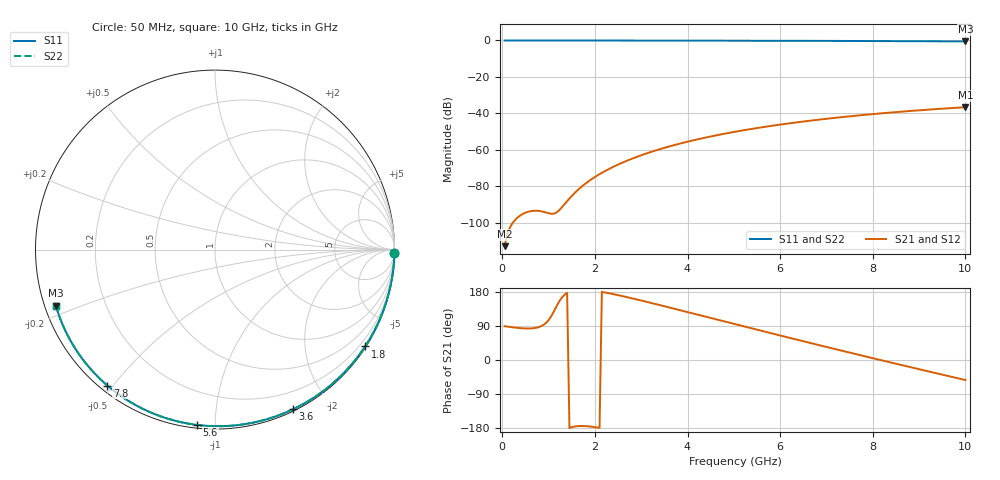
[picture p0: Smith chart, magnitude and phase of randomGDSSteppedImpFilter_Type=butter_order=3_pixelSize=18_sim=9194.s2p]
! freq	dB(S11)	phase(S11)	dB(S12)	phase(S12)
!  dB(S21)	phase(S21)	dB(S22)	phase(S22)
!S-par simulation data
#  GHz  S  DB  R 50
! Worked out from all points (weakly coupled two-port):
!   200 points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, 50 MHz to 10 GHz, reference 50 ohm
!   highest |S21| = -36.59 dB at 10 GHz (marker M1); lowest = -112.7 dB at 50 MHz (marker M2)
!   lowest |S11| = -0.5 dB at 10 GHz (marker M3), VSWR 32.39, Z = 1.59 - j8.56 ohm
!   |S11| at or under -10 dB: nowhere
!   |S22| runs from -0.5 to 0.0 dB; largest |S21 - S12| = 0
!   S11 on the Smith chart (normalised r, x): 50 MHz: open; 1.8 GHz: 0.03, -3.39; 3.6 GHz: 0.02, -1.60; 5.6 GHz: 0.02, -0.90; 7.8 GHz: 0.02, -0.48; 10 GHz: 0.03, -0.17
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0.05  -0.00 -0.9  -112.73 89.1  -112.73 89.1  -0.00 -0.9
0.45  -0.01 -8.3  -94.96 83.5  -94.96 83.5  -0.01 -8.3
0.85  -0.02 -15.7  -93.66 89.9  -93.66 89.9  -0.02 -15.7
1.7  -0.04 -31.1  -80.39 -174.1  -80.39 -174.1  -0.04 -31.1
1.75  -0.04 -32.0  -79.35 -174.2  -79.35 -174.2  -0.04 -32.0
1.8  -0.04 -32.8  -78.36 -174.5  -78.36 -174.5  -0.04 -32.8
1.95  -0.05 -35.5  -75.65 -176.4  -75.65 -176.4  -0.05 -35.5
2.1  -0.05 -38.2  -73.26 -179.1  -73.26 -179.1  -0.05 -38.2
2.3  -0.05 -41.7  -70.47 176.3  -70.47 176.3  -0.05 -41.7
2.5  -0.06 -45.2  -68.01 171.2  -68.01 171.2  -0.06 -45.2
2.9  -0.07 -52.1  -63.83 159.9  -63.83 159.9  -0.07 -52.1
3.4  -0.08 -60.6  -59.59 145.0  -59.59 145.0  -0.08 -60.6
3.6  -0.09 -63.9  -58.12 138.8  -58.12 138.8  -0.09 -63.9
4.3  -0.11 -75.4  -53.70 117.2  -53.70 117.2  -0.11 -75.4
5.05  -0.13 -87.3  -49.92 93.9  -49.92 93.9  -0.13 -87.3
5.6  -0.16 -95.8  -47.60 76.9  -47.60 76.9  -0.16 -95.8
6.15  -0.19 -104.1  -45.58 60.1  -45.58 60.1  -0.19 -104.1
6.7  -0.22 -112.3  -43.80 43.4  -43.80 43.4  -0.22 -112.3
7.8  -0.30 -128.4  -40.82 10.6  -40.82 10.6  -0.30 -128.4
8.35  -0.35 -136.3  -39.57 -5.5  -39.57 -5.5  -0.35 -136.3
9.2  -0.44 -148.7  -37.90 -30.0  -37.90 -30.0  -0.44 -148.7
10  -0.54 -160.6  -36.59 -52.8  -36.59 -52.8  -0.54 -160.6
